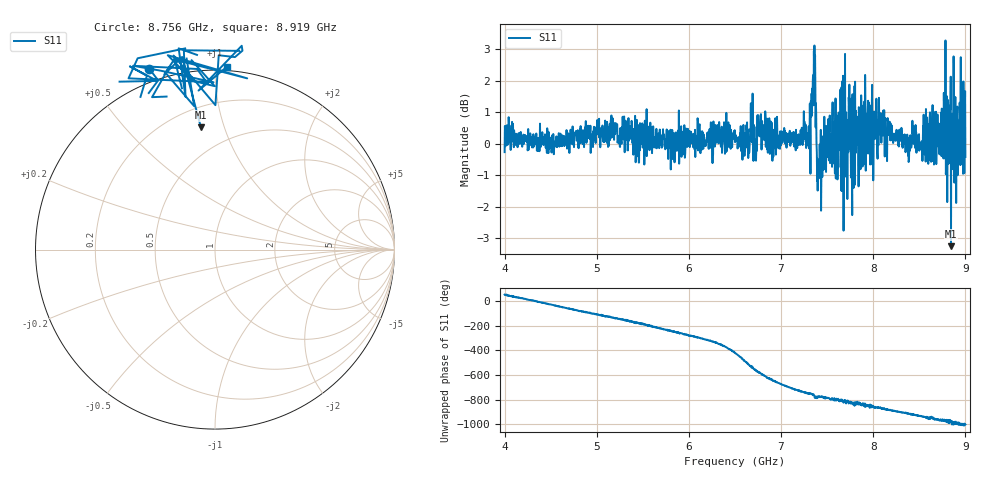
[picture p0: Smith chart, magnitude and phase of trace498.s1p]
! Created with skrf 1.8.0 (http://scikit-rf.org).
# Hz S RI R 50.0
!freq ReS11 ImS11
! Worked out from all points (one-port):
!   1601 points, 4 GHz to 9 GHz, reference 50 ohm
!   lowest |S11| = -3.3 dB at 8.844 GHz (marker M1), VSWR 5.39, Z = 16.2 + j41.9 ohm
!   |S11| at or under -10 dB: nowhere
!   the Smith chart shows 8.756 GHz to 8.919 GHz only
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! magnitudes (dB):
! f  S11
! 4 GHz  -0.3
! 4.069 GHz  0.4
! 4.625 GHz  -0.1
! 5.159 GHz  0.9
! 5.25 GHz  -0.1
! 5.875 GHz  -0.1
! 6.5 GHz  0.0
! 7.125 GHz  0.2
! 7.294 GHz  -0.1
! 7.347 GHz  2.2
! 7.369 GHz  2.8
! 7.412 GHz  -0.9
! 7.491 GHz  0.6
! 7.609 GHz  -0.3
! 7.669 GHz  0.5
! 7.703 GHz  0.0
! 7.75 GHz  0.3
! 7.769 GHz  -1.3
! 7.891 GHz  0.4
! 7.981 GHz  -0.3
! 8.088 GHz  0.0
! 8.375 GHz  -0.2
! 8.709 GHz  0.5
! 8.759 GHz  0.0
! 8.844 GHz  -3.3
! 8.919 GHz  0.2
! 8.972 GHz  0.7
! 9 GHz  -0.4
